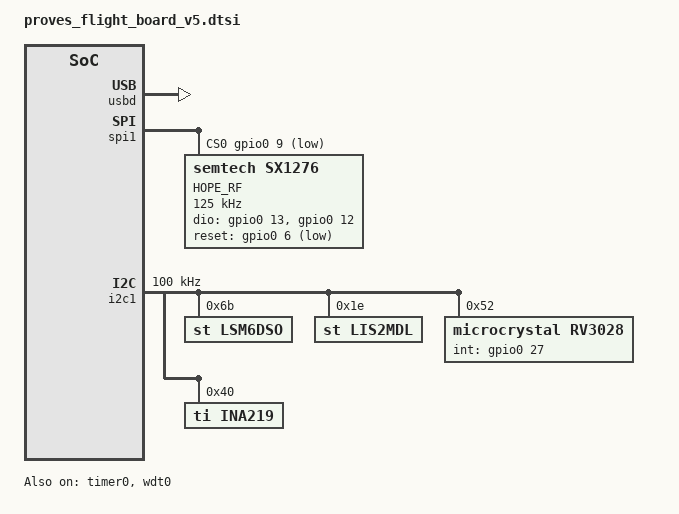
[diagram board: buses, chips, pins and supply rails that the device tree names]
#include <freq.h>

#include <zephyr/dt-bindings/i2c/i2c.h>
#include <zephyr/dt-bindings/pwm/pwm.h>

#include "proves_flight_board_v5-pinctrl.dtsi"

/ {
	chosen {
		zephyr,sram = &sram0;
		zephyr,flash = &flash0;
		zephyr,console = &cdc_acm_uart0;
		zephyr,shell-uart = &cdc_acm_uart0;
		zephyr,code-partition = &code_partition;
	};
	
	aliases {
		watchdog0 = &wdt0;
	};
};

zephyr_udc0: &usbd {
	status = "okay";
};

&zephyr_udc0  {
	cdc_acm_uart0: cdc_acm_uart0 {
		compatible = "zephyr,cdc-acm-uart";
		label = "CDC_ACM_0";
	};
};

&flash0 {
	reg = <0x10000000 DT_SIZE_M(4)>;
	
	partitions {
		compatible = "fixed-partitions";
		#address-cells = <1>;
		#size-cells = <1>;
		
		/* Reserved memory for an image definition block. The block is much
		* smaller than 256 bytes, but in practice the linker places the vector
		* table at a much larger alignment offset.
		*/
		image_def: partition@0 {
			label = "image_def";
			reg = <0x00000000 0x100>;
			read-only;
		};
		
		/*
		* Usable flash. Starts at 0x100, after the image definition block.
		* The partition size is 4MB minus the 0x100 bytes taken by the
		* image definition.
		*/
		code_partition: partition@100 {
			label = "code-partition";
			reg = <0x100 (DT_SIZE_M(4) - 0x100)>;
			read-only;
		};
	};
};

&timer0 {
	status = "okay";
};

&wdt0 {
	status = "okay";
};

&gpio0 {
	status = "okay";
};

&spi1 {
	status = "okay";
	cs-gpios = <&gpio0 9 GPIO_ACTIVE_LOW>;
	pinctrl-0 = <&spi1_default>;
	pinctrl-names = "default";
	
	lora0: sx1276@0 {
		compatible = "semtech,sx1276";
		reg = <0>;
		spi-max-frequency = <125000>;
		dio-gpios =  <&gpio0 13 (GPIO_PULL_DOWN | GPIO_ACTIVE_HIGH)>,<&gpio0 12 (GPIO_PULL_DOWN | GPIO_ACTIVE_HIGH)>;
		reset-gpios = <&gpio0 6 GPIO_ACTIVE_LOW>;
		power-amplifier-output = "pa-boost";
		label = "HOPE_RF";
	};
};

&i2c1 {
	status = "okay";
	pinctrl-0 = <&i2c1_default>;
	pinctrl-names = "default";
	clock-frequency = <100000>;
	
	lsm6dso0: lsm6dso0@6b {
		compatible = "st,lsm6dso";
		reg = <0x6b>;
		label = "LSM6DSO";
	};
	
	lis2mdl: lis2mdl@1e {
		compatible = "st,lis2mdl";
		reg = <0x1e>;
		label = "LIS2MDL";
	};
	rv3028: rv3028@52 {
		compatible = "microcrystal,rv3028";
		reg = <0x52>;
		int-gpios = <&gpio0 27 GPIO_ACTIVE_HIGH>;
		backup-switch-mode = "level";
		label = "RV3028";
	};
	ina219: ina219@40 {
		compatible = "ti,ina219";
		reg = <0x40>;
		shunt-milliohm = <2>;
		lsb-microamp = <100>;
		label = "INA219";
	};
};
